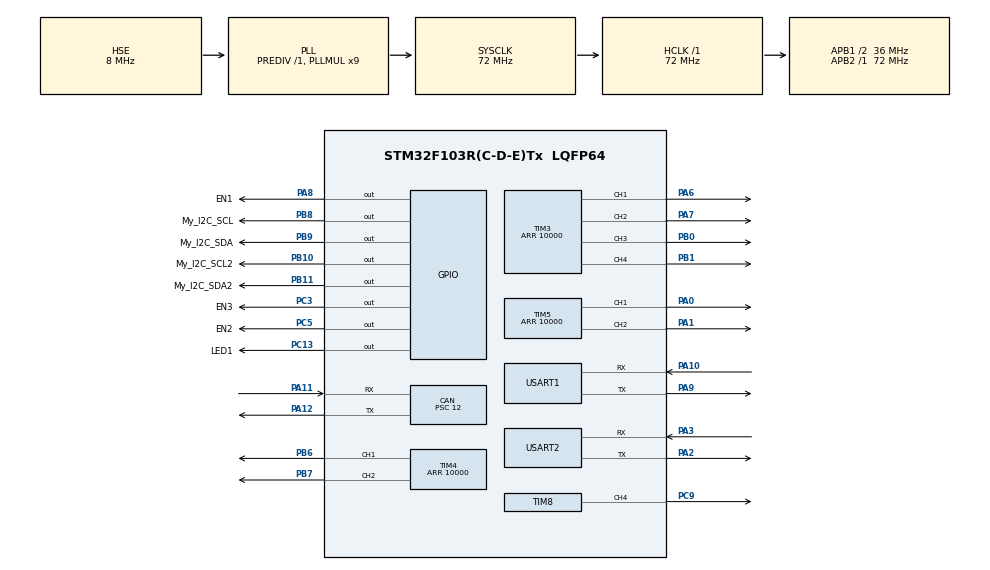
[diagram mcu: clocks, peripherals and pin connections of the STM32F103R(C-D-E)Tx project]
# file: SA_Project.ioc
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CAN.CalculateBaudRate=999999
CAN.CalculateTimeBit=1000
CAN.CalculateTimeQuantum=333.33333333333337
CAN.Prescaler=12
CAN.SJW=CAN_SJW_1TQ
Dma.Request0=USART2_RX
Dma.USART2_RX.0.Direction=DMA_PERIPH_TO_MEMORY
Dma.USART2_RX.0.Instance=DMA1_Channel6
Dma.USART2_RX.0.MemDataAlignment=DMA_MDATAALIGN_BYTE
Dma.USART2_RX.0.MemInc=DMA_MINC_ENABLE
Dma.USART2_RX.0.Mode=DMA_NORMAL
Dma.USART2_RX.0.PeriphDataAlignment=DMA_PDATAALIGN_BYTE
Dma.USART2_RX.0.PeriphInc=DMA_PINC_DISABLE
Dma.USART2_RX.0.Priority=DMA_PRIORITY_LOW
Mcu.Family=STM32F1
Mcu.Name=STM32F103R(C-D-E)Tx
Mcu.Package=LQFP64
NVIC.DMA1_Channel6_IRQn=true\:0\:0\:false\:false\:true\:false\:true\:true
NVIC.PriorityGroup=NVIC_PRIORITYGROUP_4
NVIC.TIM2_IRQn=true\:0\:0\:false\:false\:true\:true\:true\:true
NVIC.USART2_IRQn=true\:1\:0\:true\:false\:true\:true\:true\:true
PA0-WKUP.Signal=S_TIM5_CH1
PA1.Signal=S_TIM5_CH2
PA10.Mode=Asynchronous
PA10.Signal=USART1_RX
PA11.Mode=CAN_Activate
PA11.Signal=CAN_RX
PA12.Mode=CAN_Activate
PA12.Signal=CAN_TX
PA13.Mode=Serial_Wire
PA13.Signal=SYS_JTMS-SWDIO
PA14.Mode=Serial_Wire
PA14.Signal=SYS_JTCK-SWCLK
PA2.Mode=Asynchronous
PA2.Signal=USART2_TX
PA3.Mode=Asynchronous
PA3.Signal=USART2_RX
PA6.Signal=S_TIM3_CH1
PA7.Signal=S_TIM3_CH2
PA8.GPIO_Label=EN1
PA8.Signal=GPIO_Output
PA9.Mode=Asynchronous
PA9.Signal=USART1_TX
PB0.Signal=S_TIM3_CH3
PB1.Signal=S_TIM3_CH4
PB10.GPIO_Label=My_I2C_SCL2
PB10.PinState=GPIO_PIN_SET
PB10.Signal=GPIO_Output
PB11.GPIO_Label=My_I2C_SDA2
PB11.PinState=GPIO_PIN_SET
PB11.Signal=GPIO_Output
PB6.Signal=S_TIM4_CH1
PB7.Signal=S_TIM4_CH2
PB8.GPIO_Label=My_I2C_SCL
PB8.PinState=GPIO_PIN_SET
PB8.Signal=GPIO_Output
PB9.GPIO_Label=My_I2C_SDA
PB9.PinState=GPIO_PIN_SET
PB9.Signal=GPIO_Output
PC13-TAMPER-RTC.GPIO_Label=LED1
PC13-TAMPER-RTC.Signal=GPIO_Output
PC14-OSC32_IN.Mode=LSE-External-Oscillator
PC14-OSC32_IN.Signal=RCC_OSC32_IN
PC15-OSC32_OUT.Mode=LSE-External-Oscillator
PC15-OSC32_OUT.Signal=RCC_OSC32_OUT
PC3.GPIO_Label=EN3
PC3.Signal=GPIO_Output
PC5.GPIO_Label=EN2
PC5.Signal=GPIO_Output
PC9.Signal=S_TIM8_CH4
PD0-OSC_IN.Mode=HSE-External-Oscillator
PD0-OSC_IN.Signal=RCC_OSC_IN
PD1-OSC_OUT.Mode=HSE-External-Oscillator
PD1-OSC_OUT.Signal=RCC_OSC_OUT
ProjectManager.HeapSize=0x200
ProjectManager.StackSize=0x400
ProjectManager.TargetToolchain=MDK-ARM V5.32
RCC.ADCPresc=RCC_ADCPCLK2_DIV6
RCC.AHBFreq_Value=72000000
RCC.APB1CLKDivider=RCC_HCLK_DIV2
RCC.APB1Freq_Value=36000000
RCC.APB1TimFreq_Value=72000000
RCC.APB2Freq_Value=72000000
RCC.APB2TimFreq_Value=72000000
RCC.HCLKFreq_Value=72000000
RCC.PLLMUL=RCC_PLL_MUL9
RCC.PLLSourceVirtual=RCC_PLLSOURCE_HSE
RCC.SYSCLKFreq_VALUE=72000000
RCC.SYSCLKSource=RCC_SYSCLKSOURCE_PLLCLK
RCC.USBFreq_Value=72000000
SH.S_TIM3_CH1.0=TIM3_CH1,PWM Generation1 CH1
SH.S_TIM3_CH2.0=TIM3_CH2,PWM Generation2 CH2
SH.S_TIM3_CH3.0=TIM3_CH3,PWM Generation3 CH3
SH.S_TIM3_CH4.0=TIM3_CH4,PWM Generation4 CH4
SH.S_TIM4_CH1.0=TIM4_CH1,PWM Generation1 CH1
SH.S_TIM4_CH2.0=TIM4_CH2,PWM Generation2 CH2
SH.S_TIM5_CH1.0=TIM5_CH1,PWM Generation1 CH1
SH.S_TIM5_CH2.0=TIM5_CH2,PWM Generation2 CH2
SH.S_TIM8_CH4.0=TIM8_CH4,PWM Generation4 CH4
TIM2.AutoReloadPreload=TIM_AUTORELOAD_PRELOAD_ENABLE
TIM2.Period=50-1
TIM2.Prescaler=7200-1
TIM3.Channel-PWM\ Generation1\ CH1=TIM_CHANNEL_1
TIM3.Channel-PWM\ Generation2\ CH2=TIM_CHANNEL_2
TIM3.Channel-PWM\ Generation3\ CH3=TIM_CHANNEL_3
TIM3.Channel-PWM\ Generation4\ CH4=TIM_CHANNEL_4
TIM3.Period=10000
TIM4.Channel-PWM\ Generation1\ CH1=TIM_CHANNEL_1
TIM4.Channel-PWM\ Generation2\ CH2=TIM_CHANNEL_2
TIM4.Period=10000
TIM5.Channel-PWM\ Generation1\ CH1=TIM_CHANNEL_1
TIM5.Channel-PWM\ Generation2\ CH2=TIM_CHANNEL_2
TIM5.Period=10000
TIM8.Channel-PWM\ Generation4\ CH4=TIM_CHANNEL_4
TIM8.Period=10000
USART1.VirtualMode=VM_ASYNC
USART2.VirtualMode=VM_ASYNC
VP_TIM2_VS_ClockSourceINT.Mode=Internal
board=custom

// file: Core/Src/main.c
/* USER CODE BEGIN Header */
/**
  ******************************************************************************
  * @file           : main.c
  * @brief          : Main program body
  ******************************************************************************
  * @attention
  *
  * Copyright (c) 2024 STMicroelectronics.
  * All rights reserved.
  *
  * This software is licensed under terms that can be found in the LICENSE file
  * in the root directory of this software component.
  * If no LICENSE file comes with this software, it is provided AS-IS.
  *
  ******************************************************************************
  */
/* USER CODE END Header */
#include "main.h"
#include "can.h"
#include "dma.h"
#include "tim.h"
#include "usart.h"
#include "gpio.h"

/* USER CODE BEGIN Includes */

#include "headfile.h"    //头文

/* USER CODE END Includes */

/* USER CODE BEGIN PTD */
FOCmotor_Typedef FOCM1,FOCM2,FOCM3;
AnglePD_Typedef PDM1;
/* USER CODE END PTD */

/* USER CODE BEGIN PD */
uint8_t message1[]="****UART commucition using IDLE IT DMA****\n";
uint8_t message2[]="Please enter 8 characters: \n";

/* USER CODE END PD */

void SystemClock_Config(void);

/* USER CODE BEGIN 0 */
float a;
float b;
float set111;
/* USER CODE END 0 */

int main(void)
{

  /* MCU Configuration--------------------------------------------------------*/

  /* Reset of all peripherals, Initializes the Flash interface and the Systick. */
  HAL_Init();

  /* Configure the system clock */
  SystemClock_Config();

  /* USER CODE BEGIN SysInit */
  AnglePD_Init(&PDM1);
  /* USER CODE END SysInit */

  /* Initialize all configured peripherals */
  MX_GPIO_Init();
  MX_DMA_Init();
  MX_USART1_UART_Init();
  MX_TIM3_Init();
  MX_TIM4_Init();
  MX_TIM5_Init();
  MX_TIM8_Init();
  MX_TIM2_Init();
  MX_USART2_UART_Init();
  MX_CAN_Init();
  /* USER CODE BEGIN 2 */
    HAL_SETPWM_init();   //初始化pwm通道
    FOCType_Init(&FOCM1,7,1,1);
    FOCType_Init(&FOCM2,7,1,2);
    FOCType_Init(&FOCM3,7,1,3); //初始化电机结构体参数
    EN_Motor();//使能电机
////    Motor_alignSensor(&FOCM1,&FOCM2,&FOCM3);
    FOCType_setfirst(&FOCM1); //结构体参数定义
    Motor_setTorque(&FOCM1, 3);  //起劲
    HAL_Delay(2000);
    Get_zeroangle(&FOCM1);
    HAL_Delay(100);
    Motor_setTorque(&FOCM1, 0);  //起劲
    HAL_Delay(500);

//    Get_ALL_zeroangleTEST(&FOCM1,&FOCM2,&FOCM3);
    HAL_TIM_Base_Start_IT(&htim2);//定时器5ms中断开启

    ATK_Uart_Init();//使能DMA接收中断
  /* USER CODE END 2 */

  /* Infinite loop */
  /* USER CODE BEGIN WHILE */
  while (1)
  {
        set111=Get_IMUData (&IMUDATA,3);
//    set111=i2c_mt6701_get_angle1();
//      set111=set111/PI*180;
//       Get_angle(&FOCM1);
//      set111=100;
      testdata(&FOCM1,&FOCM2,&FOCM3,set111);
//    IMUuartData(&IMUDATA);
    /* USER CODE END WHILE */

    /* USER CODE BEGIN 3 */
//   M1_HAL_SETPWM(1,1,1);
//   M2_HAL_SETPWM(0.8,0.8,0.8);
//   M3_HAL_SETPWM(0.5,0.5,0.5);
  }
  /* USER CODE END 3 */
}

void SystemClock_Config(void)
{
  RCC_OscInitTypeDef RCC_OscInitStruct = {0};
  RCC_ClkInitTypeDef RCC_ClkInitStruct = {0};

  /** Initializes the RCC Oscillators according to the specified parameters
  * in the RCC_OscInitTypeDef structure.
  */
  RCC_OscInitStruct.OscillatorType = RCC_OSCILLATORTYPE_HSE;
  RCC_OscInitStruct.HSEState = RCC_HSE_ON;
  RCC_OscInitStruct.HSEPredivValue = RCC_HSE_PREDIV_DIV1;
  RCC_OscInitStruct.HSIState = RCC_HSI_ON;
  RCC_OscInitStruct.PLL.PLLState = RCC_PLL_ON;
  RCC_OscInitStruct.PLL.PLLSource = RCC_PLLSOURCE_HSE;
  RCC_OscInitStruct.PLL.PLLMUL = RCC_PLL_MUL9;
  if (HAL_RCC_OscConfig(&RCC_OscInitStruct) != HAL_OK)
  {
    Error_Handler();
  }

  /** Initializes the CPU, AHB and APB buses clocks
  */
  RCC_ClkInitStruct.ClockType = RCC_CLOCKTYPE_HCLK|RCC_CLOCKTYPE_SYSCLK
                              |RCC_CLOCKTYPE_PCLK1|RCC_CLOCKTYPE_PCLK2;
  RCC_ClkInitStruct.SYSCLKSource = RCC_SYSCLKSOURCE_PLLCLK;
  RCC_ClkInitStruct.AHBCLKDivider = RCC_SYSCLK_DIV1;
  RCC_ClkInitStruct.APB1CLKDivider = RCC_HCLK_DIV2;
  RCC_ClkInitStruct.APB2CLKDivider = RCC_HCLK_DIV1;

  if (HAL_RCC_ClockConfig(&RCC_ClkInitStruct, FLASH_LATENCY_2) != HAL_OK)
  {
    Error_Handler();
  }
}

/* USER CODE BEGIN 4 */
void HAL_TIM_PeriodElapsedCallback(TIM_HandleTypeDef *htim){
    if(htim == &htim2)  //判断中断是否来自于定时器2
   {
    Get_angle(&FOCM1);
//  Motor_setTorque(&FOCM1,Angle_loop_PD(&PDM1,&FOCM1,set111));
    Motor_setTorque(&FOCM1,2);
   }
}

//单片机测试代码
//    HAL_GPIO_WritePin((GPIO_TypeDef *)LED1_GPIO_Port, (uint16_t)LED1_Pin, (GPIO_PinState)0);
//    HAL_Delay(200);
//    HAL_GPIO_WritePin((GPIO_TypeDef *)LED1_GPIO_Port, (uint16_t)LED1_Pin, (GPIO_PinState)1);
//    HAL_Delay(200);
//    printf("samples: %d \n",a );
//    a++;

/* USER CODE END 4 */

void Error_Handler(void)
{
  __disable_irq();
  while (1)
  {
  }
}
